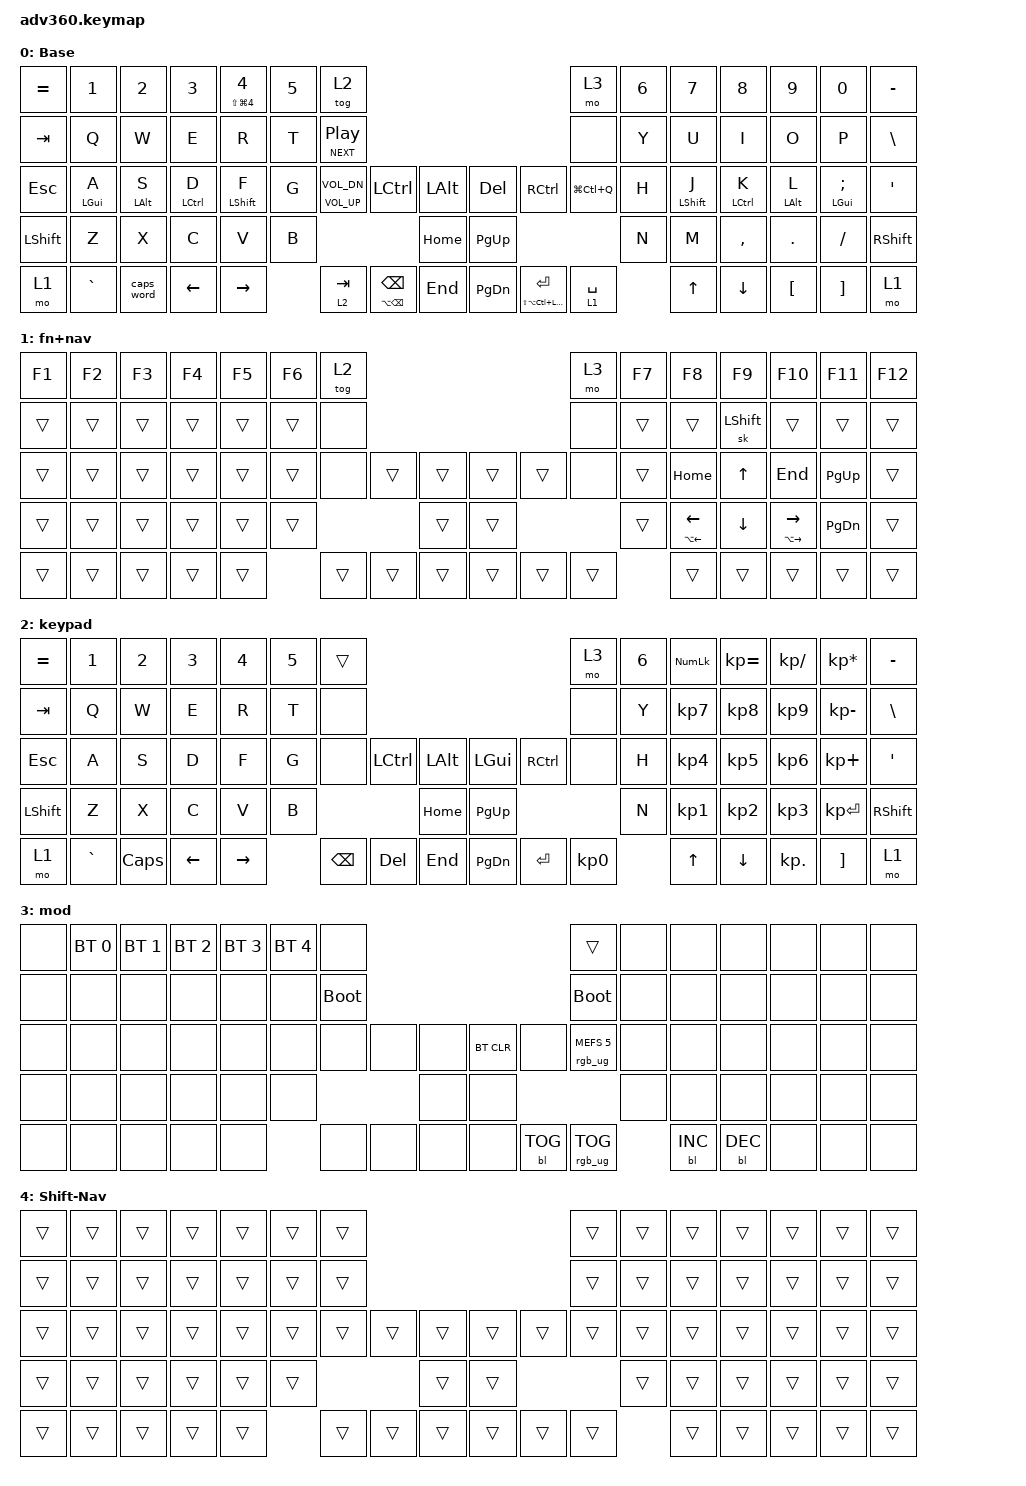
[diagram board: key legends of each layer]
#include <behaviors.dtsi>
#include <dt-bindings/zmk/backlight.h>
#include <dt-bindings/zmk/bt.h>
#include <dt-bindings/zmk/keys.h>
#include <dt-bindings/zmk/rgb.h>

/ {
    behaviors {
        #include "macros.dtsi"

        hm: homerow_mods {
            compatible = "zmk,behavior-hold-tap";
            label = "HOMEROW_MODS";
            #binding-cells = <2>;
            tapping-term-ms = <200>;
            quick_tap_ms = <175>;
            flavor = "tap-preferred";
            bindings = <&kp>, <&kp>;
        };

        hml: hml {
            compatible = "zmk,behavior-hold-tap";
            label = "Homerow Mods Left";
            #binding-cells = <2>;
            tapping-term-ms = <280>;
            flavor = "balanced";
            bindings = <&kp>, <&kp>;

            hold-trigger-key-positions = <12 13 22 23 24 25 26 27 40 45 8 9 10 11 12 13 22 23 24 25 26 27 40 45 54 55 56 57 58 59 74 73 41 42 43 44 70 69>;
            quick-tap-ms = <175>;
            require-prior-idle-ms = <150>;
            hold-trigger-on-release;
        };

        hmr: hmr {
            compatible = "zmk,behavior-hold-tap";
            label = "Homerow Mods Right";
            #binding-cells = <2>;
            tapping-term-ms = <280>;
            quick_tap_ms = <175>;
            flavor = "balanced";
            bindings = <&kp>, <&kp>;

            hold-trigger-key-positions = <0 1 2 3 4 5 14 15 16 17 18 19 28 33 46 47 48 49 50 51 62 61 32 31 30 29 65 66>;
            quick-tap-ms = <175>;
            require-prior-idle-ms = <150>;
            hold-trigger-on-release;
        };
    };

    keymap {
        compatible = "zmk,keymap";

        base {
            bindings = <
&kp EQUAL  &kp N1       &kp N2           &kp N3        &mt LS(LG(N4)) N4  &kp N5  &tog 2                                                                                                           &mo 3          &kp N6  &kp N7             &kp N8        &kp N9           &kp N0               &kp MINUS
&kp TAB    &kp Q        &kp W            &kp E         &kp R              &kp T   &mt C_NEXT C_PLAY_PAUSE                                                                                          &none          &kp Y   &kp U              &kp I         &kp O            &kp P                &kp BSLH
&kp ESC    &hml LGUI A  &hml LEFT_ALT S  &hml LCTRL D  &hml LEFT_SHIFT F  &kp G   &mt C_VOLUME_UP C_VOL_DN  &kp LCTRL                    &kp LALT      &kp DELETE  &kp RCTRL                       &kp LG(LC(Q))  &kp H   &hmr LEFT_SHIFT J  &hmr LCTRL K  &hmr LEFT_ALT L  &hmr LGUI SEMICOLON  &kp SQT
&kp LSHFT  &kp Z        &kp X            &kp C         &kp V              &kp B                                                          &kp HOME      &kp PG_UP                                                  &kp N   &kp M              &kp COMMA     &kp DOT          &kp FSLH             &kp RSHFT
&mo 1      &kp GRAVE    &caps_word       &kp LEFT      &kp RIGHT                  &lt 2 TAB                 &mt LA(BACKSPACE) BACKSPACE  &kp END       &kp PG_DN   &mt LS(LA(LC(LEFT_GUI))) ENTER  &lt 1 SPACE            &kp UP             &kp DOWN      &kp LBKT         &kp RBKT             &mo 1
            >;

            label = "Base";
        };

        fn+nav {
            bindings = <
&kp F1  &kp F2  &kp F3  &kp F4  &kp F5  &kp F6  &tog 2                                      &mo 3   &kp F7  &kp F8             &kp F9          &kp F10              &kp F11    &kp F12
&trans  &trans  &trans  &trans  &trans  &trans  &none                                       &none   &trans  &trans             &sk LEFT_SHIFT  &trans               &trans     &trans
&trans  &trans  &trans  &trans  &trans  &trans  &none   &trans  &trans      &trans  &trans  &none   &trans  &kp HOME           &kp UP_ARROW    &kp END              &kp PG_UP  &trans
&trans  &trans  &trans  &trans  &trans  &trans                  &trans      &trans                  &trans  &mt LA(LEFT) LEFT  &kp DOWN_ARROW  &mt LA(RIGHT) RIGHT  &kp PG_DN  &trans
&trans  &trans  &trans  &trans  &trans          &trans  &trans  &trans      &trans  &trans  &trans          &trans             &trans          &trans               &trans     &trans
            >;
        };

        keypad {
            bindings = <
&kp EQUAL  &kp N1     &kp N2    &kp N3    &kp N4     &kp N5  &trans                                                   &mo 3      &kp N6  &kp KP_NUM  &kp KP_EQUAL  &kp KP_DIVIDE  &kp KP_MULTIPLY  &kp MINUS
&kp TAB    &kp Q      &kp W     &kp E     &kp R      &kp T   &none                                                    &none      &kp Y   &kp KP_N7   &kp KP_N8     &kp KP_N9      &kp KP_MINUS     &kp BSLH
&kp ESC    &kp A      &kp S     &kp D     &kp F      &kp G   &none     &kp LCTRL  &kp LALT      &kp LGUI   &kp RCTRL  &none      &kp H   &kp KP_N4   &kp KP_N5     &kp KP_N6      &kp KP_PLUS      &kp SQT
&kp LSHFT  &kp Z      &kp X     &kp C     &kp V      &kp B                        &kp HOME      &kp PG_UP                        &kp N   &kp KP_N1   &kp KP_N2     &kp KP_N3      &kp KP_ENTER     &kp RSHFT
&mo 1      &kp GRAVE  &kp CAPS  &kp LEFT  &kp RIGHT          &kp BSPC  &kp DEL    &kp END       &kp PG_DN  &kp ENTER  &kp KP_N0          &kp UP      &kp DOWN      &kp KP_DOT     &kp RBKT         &mo 1
            >;
        };

        mod {
            bindings = <
&none  &bt BT_SEL 0  &bt BT_SEL 1  &bt BT_SEL 2  &bt BT_SEL 3  &bt BT_SEL 4  &none                                                  &trans                  &none  &none       &none       &none  &none  &none
&none  &none         &none         &none         &none         &none         &bootloader                                            &bootloader             &none  &none       &none       &none  &none  &none
&none  &none         &none         &none         &none         &none         &none        &none  &none      &bt BT_CLR  &none       &rgb_ug RGB_MEFS_CMD 5  &none  &none       &none       &none  &none  &none
&none  &none         &none         &none         &none         &none                             &none      &none                                           &none  &none       &none       &none  &none  &none
&none  &none         &none         &none         &none                       &none        &none  &none      &none       &bl BL_TOG  &rgb_ug RGB_TOG                &bl BL_INC  &bl BL_DEC  &none  &none  &none
            >;
        };

        Shift-Nav {
            bindings = <
&trans  &trans  &trans  &trans  &trans  &trans  &trans                                      &trans  &trans  &trans  &trans  &trans  &trans  &trans
&trans  &trans  &trans  &trans  &trans  &trans  &trans                                      &trans  &trans  &trans  &trans  &trans  &trans  &trans
&trans  &trans  &trans  &trans  &trans  &trans  &trans  &trans  &trans      &trans  &trans  &trans  &trans  &trans  &trans  &trans  &trans  &trans
&trans  &trans  &trans  &trans  &trans  &trans                  &trans      &trans                  &trans  &trans  &trans  &trans  &trans  &trans
&trans  &trans  &trans  &trans  &trans          &trans  &trans  &trans      &trans  &trans  &trans          &trans  &trans  &trans  &trans  &trans
            >;
        };
    };
};
